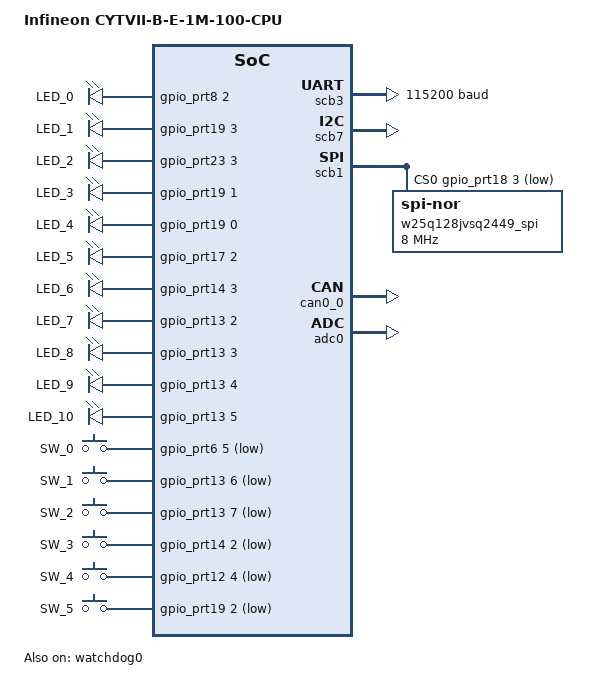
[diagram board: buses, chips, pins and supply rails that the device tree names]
/*
 * Copyright (c) 2025 Infineon Technologies AG,
 * or an affiliate of Infineon Technologies AG.
 *
 * SPDX-License-Identifier: Apache-2.0
 */

/dts-v1/;

#include <arm/infineon/cat1a/cyt2b7/system_clocks.dtsi>
#include <arm/infineon/cat1a/cyt2b7/cyt2b7.100-lqfp.dtsi>
#include <zephyr/dt-bindings/input/input-event-codes.h>
#include <zephyr/dt-bindings/pinctrl/ifx_cat1-pinctrl.h>
#include <zephyr/dt-bindings/adc/adc.h>
#include <common/freq.h>
#include "cytvii_b_e_1m_100_cpu_pinctrl.dtsi"

/ {
    model = "Infineon CYTVII-B-E-1M-100-CPU";
    compatible = "infineon,tviibe1m";

	chosen {
		zephyr,sram = &sram0;
		zephyr,flash = &flash0;
		zephyr,console = &uart3;
		zephyr,shell-uart = &uart3;
		zephyr,canbus = &can0;
	};

    aliases {
		led0 = &cpu_user_led0;
		led1 = &bb_user_led0;
		led2 = &bb_user_led1;
		led3 = &bb_user_led2;
		led4 = &bb_user_led3;
		led5 = &bb_user_led4;
		led6 = &bb_user_led5;
		led7 = &bb_user_led6;
		led8 = &bb_user_led7;
		led9 = &bb_user_led8;
        led10 = &bb_user_led9;

        sw0 = &cpu_user_bt0;
		sw1 = &bb_user_bt1;
		sw2 = &bb_user_bt2;
		sw3 = &bb_user_bt3;
		sw4 = &bb_user_bt4;
		sw5 = &bb_user_bt5;
		watchdog0 = &watchdog0;
		spi1 = &spi1;

    };

    leds {
		compatible = "gpio-leds";

        cpu_user_led0: led0 {
			label = "LED_0";
			gpios = <&gpio_prt8 2 GPIO_ACTIVE_HIGH>;
		};

		bb_user_led0: led1 {
			label = "LED_1";
			gpios = <&gpio_prt19 3 GPIO_ACTIVE_HIGH>;
		};

		bb_user_led1: led2 {
			label = "LED_2";
			gpios = <&gpio_prt23 3 GPIO_ACTIVE_HIGH>;
		};

		bb_user_led2: led3 {
			label = "LED_3";
			gpios = <&gpio_prt19 1 GPIO_ACTIVE_HIGH>;
		};

		bb_user_led3: led4 {
			label = "LED_4";
			gpios = <&gpio_prt19 0 GPIO_ACTIVE_HIGH>;
		};

		bb_user_led4: led5 {
			label = "LED_5";
			gpios = <&gpio_prt17 2 GPIO_ACTIVE_HIGH>;
		};

		bb_user_led5: led6 {
			label = "LED_6";
			gpios = <&gpio_prt14 3 GPIO_ACTIVE_HIGH>;
		};

		bb_user_led6: led7 {
			label = "LED_7";
			gpios = <&gpio_prt13 2 GPIO_ACTIVE_HIGH>;
		};

		bb_user_led7: led8 {
			label = "LED_8";
			gpios = <&gpio_prt13 3 GPIO_ACTIVE_HIGH>;
		};

		bb_user_led8: led9 {
			label = "LED_9";
			gpios = <&gpio_prt13 4 GPIO_ACTIVE_HIGH>;
		};

		bb_user_led9: led10 {
			label = "LED_10";
			gpios = <&gpio_prt13 5 GPIO_ACTIVE_HIGH>;
		};

	};

    gpio_keys {
		compatible = "gpio-keys";

		cpu_user_bt0: cpu_user_btn0 {
			label = "SW_0";
			gpios = <&gpio_prt6 5 (GPIO_PULL_UP | GPIO_ACTIVE_LOW)>;
			zephyr,code = <INPUT_KEY_0>;
		};

		bb_user_bt1: bb_user_btn1 {
			label = "SW_1";
			gpios = <&gpio_prt13 6 (GPIO_PULL_UP | GPIO_ACTIVE_LOW)>;
			zephyr,code = <INPUT_KEY_1>;
		};

		bb_user_bt2: bb_user_btn2 {
			label = "SW_2";
			gpios = <&gpio_prt13 7 (GPIO_PULL_UP | GPIO_ACTIVE_LOW)>;
			zephyr,code = <INPUT_KEY_2>;
		};

		bb_user_bt3: bb_user_btn3 {
			label = "SW_3";
			gpios = <&gpio_prt14 2 (GPIO_PULL_UP | GPIO_ACTIVE_LOW)>;
			zephyr,code = <INPUT_KEY_3>;
		};

		bb_user_bt4: bb_user_btn4 {
			label = "SW_4";
			gpios = <&gpio_prt12 4 (GPIO_PULL_UP | GPIO_ACTIVE_LOW)>;
			zephyr,code = <INPUT_KEY_4>;
		};

		bb_user_bt5: bb_user_btn5 {
			label = "SW_5";
			gpios = <&gpio_prt19 2 (GPIO_PULL_UP | GPIO_ACTIVE_LOW)>;
			zephyr,code = <INPUT_KEY_5>;
		};

	};
};

uart3: &scb3 {
	compatible = "infineon,cat1-uart-pdl";
	status = "okay";
	current-speed = <115200>;
	clocks = <&clk_hf0>;
    ifx,peri-group = <IFX_PERI_GRP_INST_SEL(1, 0)>;
    ifx,peri-clk = <0x0017>;
    ifx,peri-div = <0>; /* 8-bit divider */
    ifx,peri-div-inst = <0>;
	/* UART pins */
	pinctrl-0 = <&p13_1_scb3_uart_tx &p13_0_scb3_uart_rx>;
	pinctrl-names = "default";
};

i2c7: &scb7 {
	  compatible = "infineon,cat1-i2c-pdl";
      status = "okay";
	  clocks = <&clk_hf0>;
	  ifx,peri-group = <IFX_PERI_GRP_INST_SEL(1, 0)>;
	  ifx,peri-clk = <0x001B>;
	  ifx,peri-div = <1>; /* 8-bit divider */
	  ifx,peri-div-inst = <1>;
      #address-cells = <1>;
      #size-cells = <0>;
      pinctrl-0 = <&p0_1_scb7_i2c_scl &p0_0_scb7_i2c_sda>;
      pinctrl-names = "default";
};

spi1: &scb1 {
	compatible = "infineon,cat1-spi-pdl";
	status = "okay";

	pinctrl-0 = <&p18_0_scb1_spi_miso &p18_1_scb1_spi_mosi &p18_2_scb1_spi_scl>;
	pinctrl-names = "default";
	cs-gpios = <&gpio_prt18 3 GPIO_ACTIVE_LOW>;

	clocks = <&clk_hf0>;
   	ifx,peri-group = <IFX_PERI_GRP_INST_SEL(0, 0)>;
    ifx,peri-clk = <0x0015>;
    ifx,peri-div = <1>; /* 16-bit divider */
    ifx,peri-div-inst = <3>;

	w25q128jvsq2449_spi: spi-nor-flash@0 {
	compatible = "jedec,spi-nor";
	reg = <0>;
	spi-max-frequency = <DT_FREQ_M(8)>;
	size = <DT_SIZE_M(128)>; /* 64 Mbits */
	status = "okay";
	jedec-id = [ef 40 18];
	};
};

can0: &can0_0 {
    compatible = "infineon,cat1-can";
	status = "okay";
    clocks = <&clk_hf0>;
    clock-frequency = <40000000>;
    ifx,peri-group = <IFX_PERI_GRP_INST_SEL(0, 0)>;
    ifx,peri-clk = <0x0006>;
    ifx,peri-div = <3>; /* 24-bit divider */
    ifx,peri-div-inst = <0>;

    pinctrl-0 = <&p2_0_can0_0_tx &p2_1_can0_0_rx>;
    pinctrl-names = "default";
};


adc0: &adc0 {
       status = "okay";
	    clocks = <&clk_hf0>;
       clock-frequency = <10670000>;
       ifx,peri-group = <IFX_PERI_GRP_INST_SEL(0, 0)>;
       ifx,peri-clk = <0x001C>;
       ifx,peri-div = <1>; /* 8-bit divider */
       ifx,peri-div-inst = <2>;
	   #io-channel-cells = <1>;
		#address-cells = <1>;
   		#size-cells = <0>;
};

&gpio_prt6 {
	status = "okay";
};

&gpio_prt8 {
	status = "okay";
};

&gpio_prt12 {
	status = "okay";
};

&gpio_prt13 {
	status = "okay";
};

&gpio_prt14 {
	status = "okay";
};

&gpio_prt17 {
	status = "okay";
};

&gpio_prt18 {
	status = "okay";
};

&gpio_prt19 {
	status = "okay";
};

&gpio_prt22 {
	status = "okay";
};

&gpio_prt23 {
	status = "okay";
};

&pll0 {
	status = "okay";
};

&clk_eco {
    status = "okay";
    clock-frequency = <16000000>;
};

&clk_hf0 {
	status = "okay";
};

&clk_hf1 {
	status = "okay";
};

&clk_hf2 {
	status = "okay";
};

&watchdog0 {
	status = "okay";
};
